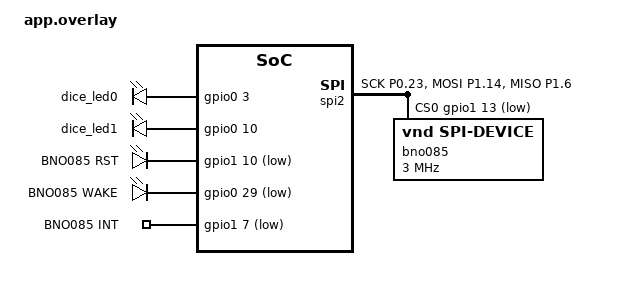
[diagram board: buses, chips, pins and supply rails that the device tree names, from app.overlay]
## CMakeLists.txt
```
# SPDX-License-Identifier: Apache-2.0

cmake_minimum_required(VERSION 3.20.0)
find_package(Zephyr REQUIRED HINTS $ENV{ZEPHYR_BASE})
project(dice-test2)

target_sources(app PRIVATE
    src/main.cpp
    src/bno085.cpp
    src/ble_orient.cpp
    src/dice_fsm.cpp
)
target_link_libraries(app PUBLIC m)
```

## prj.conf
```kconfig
CONFIG_CPP=y

CONFIG_GPIO=y
CONFIG_SPI=y
CONFIG_PINCTRL=y

CONFIG_BT=y
CONFIG_BT_PERIPHERAL=y
CONFIG_BT_DEVICE_NAME="dice"
CONFIG_BT_MAX_CONN=1
# Largest notify payload = 58 bytes (STREAM) → ATT PDU = 61 → L2CAP ≥ 61
# Set MTU with headroom and matching ACL buffers
CONFIG_BT_L2CAP_TX_MTU=80
CONFIG_BT_BUF_ACL_RX_SIZE=86
CONFIG_BT_BUF_ACL_TX_SIZE=86
# Peripheral-requested 2M PHY for latency
CONFIG_BT_USER_PHY_UPDATE=y

CONFIG_CONSOLE=y
CONFIG_PRINTK=y
CONFIG_STDOUT_CONSOLE=y

# printfをJ-Link RTTに出す
CONFIG_USE_SEGGER_RTT=y
CONFIG_RTT_CONSOLE=y
CONFIG_UART_CONSOLE=n

# printf("%f") と math関数用
CONFIG_NEWLIB_LIBC=y
CONFIG_NEWLIB_LIBC_FLOAT_PRINTF=y
CONFIG_CBPRINTF_FP_SUPPORT=y

CONFIG_MAIN_STACK_SIZE=8192

CONFIG_SEGGER_RTT_BUFFER_SIZE_UP=4096

CONFIG_HWINFO=y
```

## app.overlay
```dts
#include <zephyr/dt-bindings/pinctrl/nrf-pinctrl.h>
#include <zephyr/dt-bindings/regulator/nrf5x.h>

/ {
    aliases {
        led0 = &dice_led0;
        led1 = &dice_led1;
    };

    dice_leds {
        compatible = "gpio-leds";

        dice_led0: dice_led0 {
            gpios = <&gpio0 3 GPIO_ACTIVE_HIGH>;
        };

        dice_led1: dice_led1 {
            gpios = <&gpio0 10 GPIO_ACTIVE_HIGH>;
        };
    };

    bno085_ctrl {
        compatible = "gpio-leds";

        bno_rst: bno-rst {
            gpios = <&gpio1 10 GPIO_ACTIVE_LOW>;
            label = "BNO085 RST";
        };

        bno_wake: bno-wake {
            gpios = <&gpio0 29 GPIO_ACTIVE_LOW>;
            label = "BNO085 WAKE";
        };
    };

    bno085_inputs {
        compatible = "gpio-keys";

        bno_int: bno-int {
            gpios = <&gpio1 7 GPIO_ACTIVE_LOW>;
            label = "BNO085 INT";
        };
    };
};

&pinctrl {
    bno_spi2_default: bno_spi2_default {
        group1 {
            psels = <NRF_PSEL(SPIM_SCK, 0, 23)>,
                    <NRF_PSEL(SPIM_MOSI, 1, 14)>,
                    <NRF_PSEL(SPIM_MISO, 1, 6)>;
        };
    };

    bno_spi2_sleep: bno_spi2_sleep {
        group1 {
            psels = <NRF_PSEL(SPIM_SCK, 0, 23)>,
                    <NRF_PSEL(SPIM_MOSI, 1, 14)>,
                    <NRF_PSEL(SPIM_MISO, 1, 6)>;
            low-power-enable;
        };
    };
};

/* カスタムボード: DCDC インダクタ未実装のため LDO モードに変更 */
&vregmain {
    regulator-initial-mode = <NRF5X_REG_MODE_LDO>;
};

&vregradio {
    regulator-initial-mode = <NRF5X_REG_MODE_LDO>;
};

&spi2 {
    compatible = "nordic,nrf-spim";
    status = "okay";

    pinctrl-0 = <&bno_spi2_default>;
    pinctrl-1 = <&bno_spi2_sleep>;
    pinctrl-names = "default", "sleep";

    cs-gpios = <&gpio1 13 GPIO_ACTIVE_LOW>;

    #address-cells = <1>;
    #size-cells = <0>;

    bno085: bno085@0 {
        compatible = "vnd,spi-device";
        reg = <0>;
        spi-max-frequency = <3000000>;
    };
};
```

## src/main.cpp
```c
#include "bno085.hpp"
#include "ble_orient.hpp"
#include "dice_fsm.hpp"

#include <zephyr/drivers/gpio.h>
#include <zephyr/drivers/hwinfo.h>
#include <zephyr/drivers/spi.h>
#include <zephyr/kernel.h>
#include <stdio.h>

/* ── hardware specs (from app.overlay) ──────────────────────────────────── */

static const struct spi_dt_spec bno_spi =
    SPI_DT_SPEC_GET(DT_NODELABEL(bno085),
                    SPI_WORD_SET(8) | SPI_TRANSFER_MSB |
                    SPI_MODE_CPOL | SPI_MODE_CPHA,  /* SPI mode 3, datasheet §6.5.2 */
                    0);

static const struct gpio_dt_spec bno_rst  = GPIO_DT_SPEC_GET(DT_NODELABEL(bno_rst),  gpios);
static const struct gpio_dt_spec bno_wake = GPIO_DT_SPEC_GET(DT_NODELABEL(bno_wake), gpios);
static const struct gpio_dt_spec bno_int  = GPIO_DT_SPEC_GET(DT_NODELABEL(bno_int),  gpios);
static const struct gpio_dt_spec led0     = GPIO_DT_SPEC_GET(DT_ALIAS(led0),         gpios);

/* ── sampling configuration ─────────────────────────────────────────────── */

/* 2500 µs = 400 Hz target; the chip clamps to what it can actually deliver. */
static constexpr uint32_t REPORT_INTERVAL_US = 2500;

/* Stream every Nth sample over BLE (~50 Hz at 400 Hz sensor rate).
 * Impact/result packets are never decimated. */
static constexpr int STREAM_DECIMATION = 8;

/* ── globals ─────────────────────────────────────────────────────────────── */

static BNO085  imu;
static DiceFsm fsm;

/* ── main ────────────────────────────────────────────────────────────────── */

int main()
{
    k_msleep(500);

    uint32_t cause = 0;
    hwinfo_get_reset_cause(&cause); 
    hwinfo_clear_reset_cause();
    printf("reset cause: 0x%08x\n", cause);

    BleOrient::init();

    gpio_pin_configure_dt(&led0, GPIO_OUTPUT_INACTIVE);
    for (int i = 0; i < 5; i++) {
        gpio_pin_set_dt(&led0, 1); k_msleep(100);
        gpio_pin_set_dt(&led0, 0); k_msleep(100);
    }

    if (!imu.begin(&bno_spi, &bno_rst, &bno_wake, &bno_int)) {
        printf("BNO085 begin failed\n");
        while (true) k_msleep(1000);
    }

    /*
     * Game Rotation Vector (0x08): mag-free 6-axis fusion.  The magnetometer
     * is useless next to the battery/coil and yaw is irrelevant for face
     * prediction — 9-axis RV (0x05) causes heading-correction jumps mid-air
     * that corrupt velocity integration and the sim seed.
     */
    if (!imu.enableReport(BNO085::REPORT_GAME_ROTATION_VECTOR, REPORT_INTERVAL_US)) {
        printf("BNO085 enableReport failed\n");
        while (true) k_msleep(1000);
    }
    imu.enableReport(BNO085::REPORT_GYRO_CALIBRATED, REPORT_INTERVAL_US);
    imu.enableReport(BNO085::REPORT_LINEAR_ACCEL,    REPORT_INTERVAL_US);

    printf("BNO085 ready (game rv @ %u us)\n", REPORT_INTERVAL_US);

    BNO085::Sample s;
    int n = 0;
    bool previous_simulation_mode = false;

    while (true) {
        if (!imu.poll(&s)) continue;

        const bool simulation_mode = BleOrient::simulationEnabled();
        if (simulation_mode != previous_simulation_mode) {
            fsm = DiceFsm();
            n = 0;
            previous_simulation_mode = simulation_mode;
        }

        if (simulation_mode) {
            const DiceFsm::Event ev = fsm.update(s);

            if (ev == DiceFsm::Event::IMPACT) {
                const auto &i = fsm.impact();
                BleOrient::sendImpact(i);
                printf("IMPACT fall=%ums v=(%.2f %.2f %.2f) w=(%.1f %.1f %.1f) sat=%u/%u\n",
                       i.fall_ms, (double)i.vx, (double)i.vy, (double)i.vz,
                       (double)i.pre.wx, (double)i.pre.wy, (double)i.pre.wz,
                       i.gyro_sat, i.acc_sat);
            } else if (ev == DiceFsm::Event::RESULT) {
                const auto &r = fsm.result();
                BleOrient::sendResult(r);
                printf("RESULT max|w|=%.1f max|a|=%.1f sat=%u/%u\n",
                       (double)r.max_w, (double)r.max_a, r.gyro_sat, r.acc_sat);
            }
        }

        if (++n >= STREAM_DECIMATION) {
            n = 0;
            if (simulation_mode) {
                float v[3];
                fsm.velocity(v);
                BleOrient::sendStream(s, fsm.state(), v);
            } else {
                BleOrient::sendPose(s);
            }
        }
    }
}
```

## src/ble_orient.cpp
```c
#include "ble_orient.hpp"

#include <zephyr/bluetooth/bluetooth.h>
#include <zephyr/bluetooth/conn.h>
#include <zephyr/bluetooth/gatt.h>
#include <zephyr/bluetooth/uuid.h>
#include <zephyr/drivers/gpio.h>
#include <zephyr/sys/atomic.h>
#include <stdio.h>
#include <string.h>

/* ── UUIDs ──────────────────────────────────────────────────────────────── */

#define BT_UUID_DICE_SVC_VAL \
    BT_UUID_128_ENCODE(0xd1ce0001, 0x1234, 0x5678, 0xabcd, 0x1234567890ab)
#define BT_UUID_DICE_ORIENT_VAL \
    BT_UUID_128_ENCODE(0xd1ce0002, 0x1234, 0x5678, 0xabcd, 0x1234567890ab)
#define BT_UUID_DICE_CMD_VAL \
    BT_UUID_128_ENCODE(0xd1ce0003, 0x1234, 0x5678, 0xabcd, 0x1234567890ab)

static struct bt_uuid_128 svc_uuid    = BT_UUID_INIT_128(BT_UUID_DICE_SVC_VAL);
static struct bt_uuid_128 orient_uuid = BT_UUID_INIT_128(BT_UUID_DICE_ORIENT_VAL);
static struct bt_uuid_128 cmd_uuid    = BT_UUID_INIT_128(BT_UUID_DICE_CMD_VAL);

/* ── packet types ───────────────────────────────────────────────────────── */

static constexpr uint8_t PKT_STREAM = 0x01;
static constexpr uint8_t PKT_IMPACT = 0x02;
static constexpr uint8_t PKT_RESULT = 0x03;

/* ── state ───────────────────────────────────────────────────────────────── */

static const struct gpio_dt_spec led_conn = GPIO_DT_SPEC_GET(DT_ALIAS(led1), gpios);

static struct bt_conn *active_conn = NULL;
static bool            notify_en   = false;
static atomic_t        simulation_en = ATOMIC_INIT(0);
static uint8_t         last_pkt[58];
static uint16_t        last_pkt_len = 0;

/* ── little-endian pack helpers ─────────────────────────────────────────── */

static inline void put_u32(uint8_t *p, uint32_t v)
{
    p[0] = (uint8_t)v; p[1] = (uint8_t)(v >> 8);
    p[2] = (uint8_t)(v >> 16); p[3] = (uint8_t)(v >> 24);
}

static inline void put_u16(uint8_t *p, uint16_t v)
{
    p[0] = (uint8_t)v; p[1] = (uint8_t)(v >> 8);
}

static inline void put_f32(uint8_t *p, float v)
{
    memcpy(p, &v, 4);
}

static inline void put_quat(uint8_t *p, const BNO085::Sample &s)
{
    put_f32(p + 0,  s.qx); put_f32(p + 4,  s.qy);
    put_f32(p + 8,  s.qz); put_f32(p + 12, s.qw);
}

/* ── GATT callbacks ─────────────────────────────────────────────────────── */

static ssize_t on_orient_read(struct bt_conn *conn,
                               const struct bt_gatt_attr *attr,
                               void *buf, uint16_t len, uint16_t offset)
{
    return bt_gatt_attr_read(conn, attr, buf, len, offset,
                             last_pkt, last_pkt_len);
}

static void on_orient_ccc(const struct bt_gatt_attr *attr, uint16_t value)
{
    (void)attr;
    notify_en = (value == BT_GATT_CCC_NOTIFY);
    printf("BLE orient notify %s\n", notify_en ? "on" : "off");
}

static ssize_t on_cmd_write(struct bt_conn *conn,
                             const struct bt_gatt_attr *attr,
                             const void *buf, uint16_t len,
                             uint16_t offset, uint8_t flags)
{
    (void)conn; (void)attr; (void)flags;
    if (offset != 0 || len != 1) {
        return BT_GATT_ERR(BT_ATT_ERR_INVALID_ATTRIBUTE_LEN);
    }

    const uint8_t command = *(const uint8_t *)buf;
    if (command > 1) {
        return BT_GATT_ERR(BT_ATT_ERR_VALUE_NOT_ALLOWED);
    }

    atomic_set(&simulation_en, command);
    printf("BLE mode: %s\n", command ? "simulation" : "pose");
    return len;
}

BT_GATT_SERVICE_DEFINE(dice_svc,
    BT_GATT_PRIMARY_SERVICE(&svc_uuid),
    BT_GATT_CHARACTERISTIC(&orient_uuid.uuid,
                           BT_GATT_CHRC_READ | BT_GATT_CHRC_NOTIFY,
                           BT_GATT_PERM_READ,
                           on_orient_read, NULL, NULL),
    BT_GATT_CCC(on_orient_ccc, BT_GATT_PERM_READ | BT_GATT_PERM_WRITE),
    BT_GATT_CHARACTERISTIC(&cmd_uuid.uuid,
                           BT_GATT_CHRC_WRITE_WITHOUT_RESP,
                           BT_GATT_PERM_WRITE,
                           NULL, on_cmd_write, NULL),
);

static void notify(const uint8_t *pkt, uint16_t len)
{
    memcpy(last_pkt, pkt, len < sizeof(last_pkt) ? len : sizeof(last_pkt));
    last_pkt_len = len;

    if (notify_en && active_conn) {
        bt_gatt_notify(active_conn, &dice_svc.attrs[2], pkt, len);
    }
}

/* ── BLE connection callbacks ───────────────────────────────────────────── */

static const struct bt_data ad[] = {
    BT_DATA_BYTES(BT_DATA_FLAGS, BT_LE_AD_GENERAL | BT_LE_AD_NO_BREDR),
    BT_DATA(BT_DATA_NAME_COMPLETE,
            CONFIG_BT_DEVICE_NAME, sizeof(CONFIG_BT_DEVICE_NAME) - 1),
};

static void on_connected(struct bt_conn *conn, uint8_t err)
{
    if (err) { printf("BLE connect err=%u\n", err); return; }
    active_conn = bt_conn_ref(conn);
    gpio_pin_set_dt(&led_conn, 1);
    printf("BLE connected\n");

    /* Web Bluetooth cannot set link parameters from the central side, so the
     * peripheral must ask: 7.5–15 ms interval and 2M PHY for low latency.
     * (BT_LE_CONN_PARAM / BT_CONN_LE_PHY_PARAM_* are C compound literals —
     * not valid C++, hence the static structs.) */
    static const struct bt_le_conn_param conn_params = {
        .interval_min = 6,    /* 7.5 ms  */
        .interval_max = 12,   /* 15 ms   */
        .latency      = 0,
        .timeout      = 400,  /* 4 s     */
    };
    static const struct bt_conn_le_phy_param phy_2m = {
        .options     = BT_CONN_LE_PHY_OPT_NONE,
        .pref_tx_phy = BT_GAP_LE_PHY_2M,
        .pref_rx_phy = BT_GAP_LE_PHY_2M,
    };

    int rc = bt_conn_le_param_update(conn, &conn_params);
    if (rc) printf("BLE param update req err=%d\n", rc);

    rc = bt_conn_le_phy_update(conn, &phy_2m);
    if (rc) printf("BLE PHY update req err=%d\n", rc);
}

static void on_disconnected(struct bt_conn *conn, uint8_t reason)
{
    (void)conn;
    printf("BLE disconnected reason=%u\n", reason);
    bt_conn_unref(active_conn);
    active_conn = NULL;
    notify_en   = false;
    atomic_set(&simulation_en, 0);
    gpio_pin_set_dt(&led_conn, 0);
    bt_le_adv_start(BT_LE_ADV_CONN, ad, ARRAY_SIZE(ad), NULL, 0);
}

static void on_param_updated(struct bt_conn *conn, uint16_t interval,
                             uint16_t latency, uint16_t timeout)
{
    (void)conn;
    printf("BLE params: interval=%.2fms latency=%u timeout=%ums\n",
           interval * 1.25, latency, timeout * 10);
}

BT_CONN_CB_DEFINE(conn_cbs) = {
    .connected        = on_connected,
    .disconnected     = on_disconnected,
    .le_param_updated = on_param_updated,
};

/* ── namespace implementation ───────────────────────────────────────────── */

namespace BleOrient {

void init()
{
    gpio_pin_configure_dt(&led_conn, GPIO_OUTPUT_INACTIVE);

    int err = bt_enable(NULL);
    if (err) { printf("BLE enable err=%d\n", err); return; }

    err = bt_le_adv_start(BT_LE_ADV_CONN, ad, ARRAY_SIZE(ad), NULL, 0);
    if (err) { printf("BLE adv err=%d\n", err); return; }

    printf("BLE advertising as \"%s\"\n", CONFIG_BT_DEVICE_NAME);
}

bool simulationEnabled()
{
    return atomic_get(&simulation_en) != 0;
}

void sendPose(const BNO085::Sample &s)
{
    uint8_t pkt[22];
    pkt[0] = PKT_STREAM;
    pkt[1] = (uint8_t)DiceFsm::State::REST;
    put_u32(&pkt[2], (uint32_t)(s.t_us / 1000));
    put_quat(&pkt[6], s);
    notify(pkt, sizeof(pkt));
}

void sendStream(const BNO085::Sample &s, DiceFsm::State state, const float v[3])
{
    uint8_t pkt[58];
    pkt[0] = PKT_STREAM;
    pkt[1] = (uint8_t)state;
    put_u32(&pkt[2], (uint32_t)(s.t_us / 1000));
    put_quat(&pkt[6], s);
    put_f32(&pkt[22], s.wx); put_f32(&pkt[26], s.wy); put_f32(&pkt[30], s.wz);
    put_f32(&pkt[34], s.ax); put_f32(&pkt[38], s.ay); put_f32(&pkt[42], s.az);
    put_f32(&pkt[46], v[0]); put_f32(&pkt[50], v[1]); put_f32(&pkt[54], v[2]);
    notify(pkt, sizeof(pkt));
}

void sendImpact(const DiceFsm::ImpactInfo &info)
{
    uint8_t pkt[50];
    pkt[0] = PKT_IMPACT;
    pkt[1] = 0;
    put_u32(&pkt[2], info.t_ms);
    put_quat(&pkt[6], info.pre);
    put_f32(&pkt[22], info.pre.wx); put_f32(&pkt[26], info.pre.wy);
    put_f32(&pkt[30], info.pre.wz);
    put_f32(&pkt[34], info.vx); put_f32(&pkt[38], info.vy);
    put_f32(&pkt[42], info.vz);
    put_u16(&pkt[46], info.fall_ms);
    pkt[48] = info.gyro_sat;
    pkt[49] = info.acc_sat;
    notify(pkt, sizeof(pkt));
}

void sendResult(const DiceFsm::ResultInfo &info)
{
    uint8_t pkt[32];
    pkt[0] = PKT_RESULT;
    pkt[1] = 0;
    put_u32(&pkt[2], info.t_ms);
    put_quat(&pkt[6], info.rest);
    put_f32(&pkt[22], info.max_w);
    put_f32(&pkt[26], info.max_a);
    pkt[30] = info.gyro_sat;
    pkt[31] = info.acc_sat;
    notify(pkt, sizeof(pkt));
}

} // namespace BleOrient
```

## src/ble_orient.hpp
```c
#pragma once

#include "bno085.hpp"
#include "dice_fsm.hpp"

/*
 * BLE notify protocol — single characteristic, first byte = packet type.
 * All multi-byte fields little-endian.
 *
 * 0x01 POSE (22 B, normal mode) — orientation only, approximately 50 Hz
 *   [0]      type
 *   [1]      state = REST
 *   [2..5]   t_ms      u32  uptime
 *   [6..21]  qx qy qz qw    f32×4
 *
 * 0x01 STREAM (58 B) — decimated live stream for visualization/recording
 *   [0]      type
 *   [1]      fsm state (DiceFsm::State)
 *   [2..5]   t_ms      u32  uptime
 *   [6..21]  qx qy qz qw    f32×4
 *   [22..33] wx wy wz       f32×3  rad/s (body)
 *   [34..45] ax ay az       f32×3  m/s²  (body, gravity-removed)
 *   [46..57] vx vy vz       f32×3  m/s   (world, integrated)
 *
 * 0x02 IMPACT (50 B) — sent immediately on first table contact;
 *                       carries the PRE-impact state to seed the simulation
 *   [0]      type
 *   [1]      reserved
 *   [2..5]   t_ms      u32  impact time
 *   [6..21]  q (pre-impact)
 *   [22..33] w (pre-impact, body)
 *   [34..45] v (pre-impact, world)
 *   [46..47] fall_ms   u16
 *   [48]     gyro_sat  u8
 *   [49]     acc_sat   u8
 *
 * 0x03 RESULT (32 B) — sent when the die settles; ground-truth label source
 *   [0]      type
 *   [1]      reserved
 *   [2..5]   t_ms      u32
 *   [6..21]  q (rest)
 *   [22..25] max |ω|   f32
 *   [26..29] max |a|   f32
 *   [30]     gyro_sat  u8
 *   [31]     acc_sat   u8
 */

namespace BleOrient {

void init();

bool simulationEnabled();
void sendPose(const BNO085::Sample &s);
void sendStream(const BNO085::Sample &s, DiceFsm::State state, const float v[3]);
void sendImpact(const DiceFsm::ImpactInfo &info);
void sendResult(const DiceFsm::ResultInfo &info);

} // namespace BleOrient
```

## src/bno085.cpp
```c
#include "bno085.hpp"

#include <zephyr/kernel.h>
#include <errno.h>
#include <math.h>
#include <stdio.h>
#include <string.h>

#ifndef M_PI
#define M_PI 3.14159265358979323846
#endif

/* ── public ─────────────────────────────────────────────────────────────── */

bool BNO085::begin(const spi_dt_spec  *spi,
                   const gpio_dt_spec *rst,
                   const gpio_dt_spec *wake,
                   const gpio_dt_spec *intn)
{
    spi_  = spi;
    rst_  = rst;
    wake_ = wake;
    intn_ = intn;

    k_sem_init(&data_sem_, 0, 16);

    gpio_pin_configure_dt(rst_,  GPIO_OUTPUT_INACTIVE);
    gpio_pin_configure_dt(wake_, GPIO_OUTPUT_INACTIVE);
    gpio_pin_configure_dt(intn_, GPIO_INPUT | GPIO_PULL_UP);

    /* Set up GPIO edge interrupt BEFORE releasing reset so we don't miss the first edge */
    gpio_init_callback(&int_cb_, intIsr, BIT(intn_->pin));
    gpio_add_callback(intn_->port, &int_cb_);
    gpio_pin_interrupt_configure_dt(intn_, GPIO_INT_EDGE_TO_ACTIVE);

    /* PS0/WAKE physical HIGH → SPI mode */
    gpio_pin_set_dt(wake_, 0);

    gpio_pin_set_dt(rst_, 1);
    k_msleep(20);
    gpio_pin_set_dt(rst_, 0);

    /* Wait for first INT via semaphore (ISR fires on falling edge) */
    if (waitInt(1000) != 0) {
        printf("BNO085: no INT after reset\n");
        return false;
    }
    return true;
}

bool BNO085::enableReport(uint8_t report_id, uint32_t interval_us)
{
    report_id_ = report_id;

    uint8_t cmd[17] = {};
    cmd[0] = CMD_SET_FEATURE;
    cmd[1] = report_id;
    cmd[5] = (uint8_t)(interval_us >>  0);
    cmd[6] = (uint8_t)(interval_us >>  8);
    cmd[7] = (uint8_t)(interval_us >> 16);
    cmd[8] = (uint8_t)(interval_us >> 24);

    /*
     * skip=2: skip ch=0 and ch=2 reads; piggyback on ch=1 (reset complete).
     * ch=1 is the first safe moment to issue commands per SH-2 spec.
     */
    queueWrite(CH_CONTROL, cmd, sizeof(cmd), 2);
    drainBoot();
    return true;
}

bool BNO085::poll(EulerAngles *out)
{
    /* Block here — CPU yields to other threads/BLE stack until INT fires */
    if (k_sem_take(&data_sem_, K_FOREVER) != 0) return false;

    uint8_t ch;
    uint8_t payload[BUF_SIZE];
    size_t  plen;

    if (readPacket(&ch, payload, sizeof(payload), &plen) != 0) return false;

    if ((ch == CH_REPORTS || ch == CH_WAKE) && plen > 0) {
        return parseReport(payload, plen, out);
    }

    if (ch == CH_CONTROL && plen > 0) {
        printf("BNO085: ctrl id=0x%02x\n", payload[0]);
    }
    return false;
}

/* ── private ────────────────────────────────────────────────────────────── */

void BNO085::intIsr(const struct device *port,
                    struct gpio_callback *cb,
                    gpio_port_pins_t pins)
{
    (void)port; (void)pins;
    BNO085 *self = CONTAINER_OF(cb, BNO085, int_cb_);
    k_sem_give(&self->data_sem_);
}

int BNO085::waitInt(int timeout_ms)
{
    if (k_sem_take(&data_sem_, K_MSEC(timeout_ms)) == 0) return 0;
    return -ETIMEDOUT;
}

int BNO085::readPacket(uint8_t *ch, uint8_t *payload, size_t cap, size_t *len)
{
    memset(txbuf_, 0x00, sizeof(txbuf_));

    if (lw_len_ > 0 && lw_len_ + 4U <= sizeof(txbuf_)) {
        if (lw_skip_ > 0) {
            --lw_skip_;
        } else {
            uint16_t wlen = (uint16_t)(lw_len_ + 4U);
            txbuf_[0] = (uint8_t)(wlen & 0xFF);
            txbuf_[1] = (uint8_t)((wlen >> 8) & 0x7F);
            txbuf_[2] = lw_ch_;
            txbuf_[3] = seq_[lw_ch_]++;
            memcpy(&txbuf_[4], lw_buf_, lw_len_);
            printf("BNO085: piggyback ch=%u cmd=0x%02x\n", lw_ch_, lw_buf_[0]);
            lw_len_ = 0;
        }
    }

    memset(rxbuf_, 0x00, sizeof(rxbuf_));

    const struct spi_buf tx_buf = { .buf = txbuf_, .len = sizeof(txbuf_) };
    const struct spi_buf rx_buf = { .buf = rxbuf_, .len = sizeof(rxbuf_) };
    const struct spi_buf_set tx_set = { .buffers = &tx_buf, .count = 1 };
    const struct spi_buf_set rx_set = { .buffers = &rx_buf, .count = 1 };

    int ret = spi_transceive_dt(spi_, &tx_set, &rx_set);
    if (ret) return ret;

    uint16_t pkt_len = (uint16_t)(((uint16_t)(rxbuf_[1] & 0x7F) << 8) | rxbuf_[0]);

    if (pkt_len == 0 || pkt_len == 0x7FFF || pkt_len == 0xFFFF) return -EAGAIN;
    if (pkt_len < 4 || pkt_len > (uint16_t)BUF_SIZE) {
        printf("BNO085: bad SHTP len=%u\n", pkt_len);
        return -EIO;
    }

    *ch  = rxbuf_[2];
    *len = pkt_len - 4;
    if (*len > cap) return -EMSGSIZE;

    memcpy(payload, &rxbuf_[4], *len);
    return 0;
}

void BNO085::queueWrite(uint8_t ch, const uint8_t *data, size_t len, int skip)
{
    if (len > sizeof(lw_buf_)) {
        printf("BNO085: queueWrite too large %u\n", (unsigned)len);
        return;
    }
    lw_ch_   = ch;
    lw_len_  = len;
    lw_skip_ = skip;
    memcpy(lw_buf_, data, len);
}

void BNO085::drainBoot()
{
    uint8_t payload[BUF_SIZE];
    uint8_t ch;
    size_t  plen;

    for (int i = 0; i < 16; i++) {
        if (waitInt(500) != 0) {
            printf("BNO085: boot drain done (%d pkts)\n", i);
            return;
        }
        int ret = readPacket(&ch, payload, sizeof(payload), &plen);
        printf("BNO085: boot[%d] ch=%u len=%u id=0x%02x\n",
               i, ch, (unsigned)plen, ret == 0 && plen ? payload[0] : 0);
    }
    printf("BNO085: boot drain hit limit\n");
}

bool BNO085::parseReport(const uint8_t *p, size_t len, EulerAngles *out)
{
    bool   got = false;
    size_t off = 0;

    while (off < len) {
        uint8_t id = p[off];

        if (id == RPT_TIMEBASE) {
            if (off + 5 > len) break;
            off += 5;
            continue;
        }

        if (id == report_id_) {
            size_t needed = (report_id_ == REPORT_GAME_ROTATION_VECTOR) ? 12U : 14U;
            if (off + needed > len) break;

            float qx = (float)leI16(&p[off + 4])  / 16384.0f;
            float qy = (float)leI16(&p[off + 6])  / 16384.0f;
            float qz = (float)leI16(&p[off + 8])  / 16384.0f;
            float qw = (float)leI16(&p[off + 10]) / 16384.0f;

            quatToEuler(qx, qy, qz, qw, &out->yaw, &out->pitch, &out->roll);
            out->accuracy = p[off + 2] & 0x03;
            got = true;
            off += needed;
            continue;
        }

        printf("BNO085: unknown report 0x%02x\n", id);
        break;
    }
    return got;
}

void BNO085::quatToEuler(float qx, float qy, float qz, float qw,
                          float *yaw, float *pitch, float *roll)
{
    float sinr = 2.0f * (qw * qx + qy * qz);
    float cosr = 1.0f - 2.0f * (qx * qx + qy * qy);
    *roll = atan2f(sinr, cosr);

    float sinp = 2.0f * (qw * qy - qz * qx);
    sinp = sinp > 1.0f ? 1.0f : (sinp < -1.0f ? -1.0f : sinp);
    *pitch = asinf(sinp);

    float siny = 2.0f * (qw * qz + qx * qy);
    float cosy = 1.0f - 2.0f * (qy * qy + qz * qz);
    *yaw = atan2f(siny, cosy);

    const float r2d = 180.0f / (float)M_PI;
    *yaw   *= r2d;
    *pitch *= r2d;
    *roll  *= r2d;
}

int16_t BNO085::leI16(const uint8_t *p)
{
    return (int16_t)((uint16_t)p[0] | ((uint16_t)p[1] << 8));
}
```

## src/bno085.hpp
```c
#pragma once

#include <zephyr/drivers/gpio.h>
#include <zephyr/drivers/spi.h>
#include <zephyr/kernel.h>
#include <stddef.h>
#include <stdint.h>

class BNO085 {
public:
    static constexpr uint8_t REPORT_ROTATION_VECTOR      = 0x05;
    static constexpr uint8_t REPORT_GAME_ROTATION_VECTOR = 0x08;

    struct EulerAngles {
        float   yaw;
        float   pitch;
        float   roll;
        uint8_t accuracy;
    };

    /*
     * Configure GPIO, assert/release reset, set up the INT edge interrupt,
     * and wait for the first INT via semaphore. Must be called before enableReport().
     */
    bool begin(const spi_dt_spec  *spi,
               const gpio_dt_spec *rst,
               const gpio_dt_spec *wake,
               const gpio_dt_spec *intn);

    /*
     * Queue Set Feature and drain the BNO085 boot sequence.
     * The command is piggybacked onto the ch=1 (reset complete) transaction —
     * the earliest safe point per the SH-2 spec.
     */
    bool enableReport(uint8_t report_id, uint32_t interval_us);

    /*
     * Block until the next orientation sample arrives (CPU yields via semaphore).
     * Returns true when *out is valid.
     */
    bool poll(EulerAngles *out);

private:
    static constexpr int     BUF_SIZE   = 512;
    static constexpr uint8_t CH_CONTROL = 2;
    static constexpr uint8_t CH_REPORTS = 3;
    static constexpr uint8_t CH_WAKE    = 4;
    static constexpr uint8_t CMD_SET_FEATURE = 0xFD;
    static constexpr uint8_t RPT_TIMEBASE    = 0xFB;

    /* INT edge ISR — gives data_sem_ so the caller thread can wake up */
    static void intIsr(const struct device *port,
                       struct gpio_callback *cb,
                       gpio_port_pins_t pins);

    /* Take data_sem_ with timeout. Returns 0 on success, -ETIMEDOUT on timeout. */
    int  waitInt(int timeout_ms);

    /* Read one SHTP packet; consumes the pending lazy write if ready. */
    int  readPacket(uint8_t *ch, uint8_t *payload, size_t cap, size_t *len);

    /* Queue a write to piggyback on a future read. skip=N defers N reads first. */
    void queueWrite(uint8_t ch, const uint8_t *data, size_t len, int skip = 0);

    void drainBoot();
    bool parseReport(const uint8_t *payload, size_t len, EulerAngles *out);

    static void quatToEuler(float qx, float qy, float qz, float qw,
                            float *yaw, float *pitch, float *roll);
    static int16_t leI16(const uint8_t *p);

    const spi_dt_spec  *spi_   = nullptr;
    const gpio_dt_spec *rst_   = nullptr;
    const gpio_dt_spec *wake_  = nullptr;
    const gpio_dt_spec *intn_  = nullptr;

    /* INT edge → semaphore (given from ISR, taken by caller thread) */
    struct k_sem         data_sem_;
    struct gpio_callback int_cb_;

    uint8_t seq_[6]  = {};
    uint8_t txbuf_[BUF_SIZE];
    uint8_t rxbuf_[BUF_SIZE];

    /* lazy write state */
    uint8_t lw_ch_   = 0;
    uint8_t lw_buf_[64];
    size_t  lw_len_  = 0;
    int     lw_skip_ = 0;

    uint8_t report_id_ = 0;
};
```

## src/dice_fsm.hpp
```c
#pragma once

#include "bno085.hpp"

#include <stdint.h>

/*
 * Throw state machine running on every IMU sample.
 *
 *   REST ──motion──▶ MOVING ──|a_lin|≈g──▶ FREEFALL ──spike──▶ TUMBLING ──still──▶ REST
 *     ▲                 │                      │                                     │
 *     └────still────────┘◀──────accel leaves free-fall band without impact──────────┘
 *
 * While not at REST the world-frame translational velocity is integrated from
 * the gravity-removed linear acceleration rotated by the orientation
 * quaternion (a_world = R(q)·a_lin, valid through free fall as well).
 * The integration anchor (v = 0) is the last REST period, so the velocity at
 * impact includes the hand motion imparted before release.
 *
 * On IMPACT the caller gets the sample from a few entries back in the ring
 * buffer — the impact shock corrupts both the fusion and the accelerometer,
 * so the simulation must be seeded with the *pre*-impact state.
 */
class DiceFsm {
public:
    enum class State : uint8_t {
        REST     = 0,
        MOVING   = 1,
        FREEFALL = 2,
        TUMBLING = 3,
    };

    enum class Event : uint8_t {
        NONE,
        IMPACT,   /* first table contact detected — impact() is valid   */
        RESULT,   /* die settled after a throw    — result() is valid   */
    };

    struct ImpactInfo {
        BNO085::Sample pre;        /* sample PRE_IMPACT_BACK entries before the spike */
        float    vx, vy, vz;       /* world-frame velocity at that sample (m/s)       */
        uint16_t fall_ms;          /* free-fall duration up to impact                 */
        uint8_t  gyro_sat;         /* saturated gyro samples this throw (clamped 255) */
        uint8_t  acc_sat;          /* saturated accel samples this throw              */
        uint32_t t_ms;             /* impact time (uptime ms)                         */
    };

    struct ResultInfo {
        BNO085::Sample rest;       /* settled orientation → ground-truth face label   */
        float    max_w;            /* peak |ω| during the throw (rad/s)               */
        float    max_a;            /* peak |a_lin| during the throw (m/s²)            */
        uint8_t  gyro_sat;
        uint8_t  acc_sat;
        uint32_t t_ms;
    };

    Event update(const BNO085::Sample &s);

    State state() const { return state_; }
    const ImpactInfo &impact() const { return impact_; }
    const ResultInfo &result() const { return result_; }
    void velocity(float v[3]) const { v[0] = vx_; v[1] = vy_; v[2] = vz_; }

private:
    /* ── thresholds ─────────────────────────────────────────────────────── */
    static constexpr float STILL_W        = 0.30f;   /* rad/s               */
    static constexpr float STILL_A        = 0.60f;   /* m/s²                */
    static constexpr uint32_t STILL_MS    = 300;     /* sustained stillness */
    static constexpr float G              = 9.81f;   /* m/s²                */
    static constexpr float FREEFALL_BAND  = 2.5f;    /* | |a|−g | < band    */
    static constexpr int   FREEFALL_N     = 3;       /* consecutive samples */
    static constexpr int   FREEFALL_EXIT_N = 5;      /* leave band → caught */
    static constexpr float IMPACT_A       = 20.0f;   /* m/s² spike          */
    /* BNO085 hard limits: gyro ±2000 dps ≈ ±34.9 rad/s, accel ±8 g.
     * Count samples just inside the rail as saturated. */
    static constexpr float GYRO_SAT       = 33.5f;   /* rad/s (≈1920 dps)   */
    static constexpr float ACC_SAT        = 75.0f;   /* m/s²  (≈7.6 g)      */
    static constexpr int   PRE_IMPACT_BACK = 3;      /* ring entries back   */

    static constexpr int RING_SIZE = 8;

    struct RingEntry {
        BNO085::Sample s;
        float vx, vy, vz;
    };

    void resetThrowStats();
    void integrate(const BNO085::Sample &s, float dt);
    static void rotateBodyToWorld(const BNO085::Sample &s,
                                  float bx, float by, float bz,
                                  float *wx, float *wy, float *wz);

    State    state_       = State::REST;
    float    vx_ = 0, vy_ = 0, vz_ = 0;
    uint64_t prev_t_us_   = 0;
    uint64_t still_since_us_ = 0;     /* 0 = currently not still            */
    bool     have_prev_   = false;

    int      ff_count_    = 0;
    int      ff_exit_count_ = 0;
    uint64_t ff_start_us_ = 0;

    uint32_t gyro_sat_    = 0;
    uint32_t acc_sat_     = 0;
    float    max_w_       = 0;
    float    max_a_       = 0;

    RingEntry ring_[RING_SIZE] = {};
    int       ring_head_ = 0;        /* next write position                 */
    int       ring_fill_ = 0;

    ImpactInfo impact_ = {};
    ResultInfo result_ = {};
};
```
